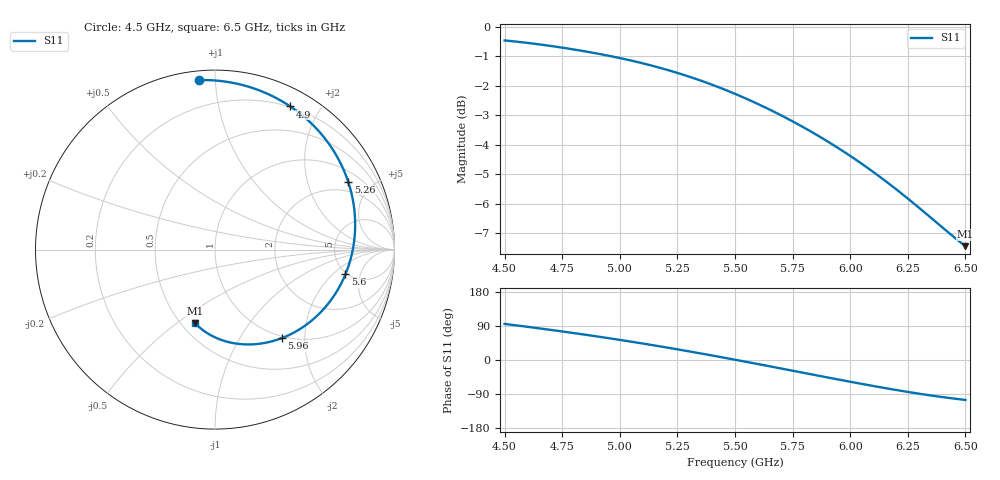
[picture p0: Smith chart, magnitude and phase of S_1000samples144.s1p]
! TOUCHSTONE file generated by CST MICROWAVE STUDIO
! Date and time: Thu Oct 27 03:46:50 2022
! Project name: L.cst
! Parameters = {Di=1.27; Epsilon_r=1.56; InnerDiameter=1.27; Length=2; Lf=10; Lg=60; OuterConductorThickness=0.2921; OuterDiameter=3.6; Wf=3; Wp=41.2; de=1.5; df=6.8; g=0.8; gx=3.80128; gy=4.66305; h=2.34; hf=1.524; px=13.5568; py=9.57511; w=9.7; wx=9.75552; wy=4.91206}
! Header version: 2018
! Port assignment regex: !\s*Touchstone port\s*([0-9]+)\s*=\s*(CST MWS port|CST DS port)\s*([0-9]+|Zmin|Zmax)\s*\(\"(.*)\"\)(\s*mode\s*([0-9]+))?.*
! Touchstone port assignment:
! Touchstone port 1 = CST MWS port 1 ("")
# GHz S DB R 50
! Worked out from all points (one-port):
!   101 points, 4.5 GHz to 6.5 GHz, reference 50 ohm
!   lowest |S11| = -7.4 dB at 6.5 GHz (marker M1), VSWR 2.48, Z = 29.2 - j29.1 ohm
!   |S11| at or under -10 dB: nowhere
!   S11 on the Smith chart (normalised r, x): 4.5 GHz: 0.05, +0.91; 4.9 GHz: 0.19, +1.64; 5.26 GHz: 1.45, +3.60; 5.6 GHz: 4.83, -2.94; 5.96 GHz: 0.97, -1.55; 6.5 GHz: 0.58, -0.58
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4.5  -0.46 95.2
4.58  -0.53 89.1
4.64  -0.58 84.3
4.76  -0.72 74.5
4.84  -0.82 67.6
4.9  -0.90 62.3
5  -1.06 53.1
5.06  -1.16 47.3
5.14  -1.32 39.4
5.2  -1.45 33.3
5.26  -1.59 27.1
5.32  -1.74 20.7
5.38  -1.90 14.1
5.44  -2.08 7.5
5.5  -2.27 0.7
5.6  -2.62 -10.7
5.68  -2.92 -20.1
5.76  -3.25 -29.4
5.86  -3.69 -41.2
5.96  -4.17 -52.8
6  -4.38 -57.4
6.06  -4.70 -64.1
6.12  -5.04 -70.7
6.18  -5.39 -77.1
6.26  -5.89 -85.2
6.32  -6.28 -90.9
6.38  -6.67 -96.2
6.5  -7.44 -105.3
